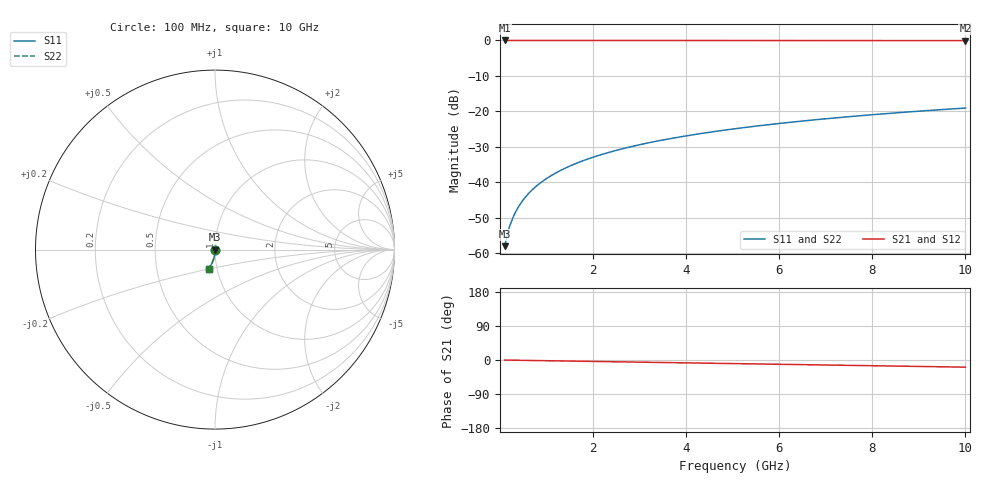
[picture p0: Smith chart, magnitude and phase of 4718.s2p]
# Hz S RI R 50.00
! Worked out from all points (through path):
!   100 points, 100 MHz to 10 GHz, reference 50 ohm
!   highest |S21| = 0.00 dB at 100 MHz (marker M1); lowest = -0.1 dB at 10 GHz (marker M2)
!   group delay of S21, straight-line fit = 5.25 ps
!   lowest |S11| = -58.0 dB at 100 MHz (marker M3), VSWR 1.00, Z = 50.1 - j0.113 ohm
!   |S11| at or under -10 dB: start of sweep to end of sweep
!   |S22| runs from -58.0 to -19.1 dB; largest |S21 - S12| = 0
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1e8  0.00055 -0.00113  0.9994 -0.00328  0.9994 -0.00328  0.00055 -0.00113
2e8  0.00054 -0.00226  0.9994 -0.00656  0.9994 -0.00656  0.00054 -0.00226
3e8  0.000523 -0.00338  0.9994 -0.00984  0.9994 -0.00984  0.000523 -0.00338
4e8  0.000497 -0.00451  0.9993 -0.0131  0.9993 -0.0131  0.000497 -0.00451
5e8  0.000463 -0.00564  0.9993 -0.0164  0.9993 -0.0164  0.000463 -0.00564
6e8  0.000422 -0.00677  0.9992 -0.0197  0.9992 -0.0197  0.000422 -0.00677
7e8  0.000374 -0.00789  0.9991 -0.023  0.9991 -0.023  0.000374 -0.00789
8e8  0.000318 -0.00902  0.999 -0.0262  0.999 -0.0262  0.000318 -0.00902
9e8  0.000254 -0.0101  0.9989 -0.0295  0.9989 -0.0295  0.000254 -0.0101
1.1e9  0.000104 -0.0124  0.9987 -0.0361  0.9987 -0.0361  0.000104 -0.0124
1.4e9  -0.000176 -0.0158  0.9982 -0.0459  0.9982 -0.0459  -0.000176 -0.0158
1.8e9  -0.000654 -0.0203  0.9974 -0.059  0.9974 -0.059  -0.000654 -0.0203
2.1e9  -0.00109 -0.0236  0.9967 -0.0688  0.9967 -0.0688  -0.00109 -0.0236
2.5e9  -0.00178 -0.0281  0.9956 -0.0819  0.9956 -0.0819  -0.00178 -0.0281
2.9e9  -0.00258 -0.0326  0.9943 -0.095  0.9943 -0.095  -0.00258 -0.0326
3.4e9  -0.00375 -0.0381  0.9924 -0.1113  0.9924 -0.1113  -0.00375 -0.0381
4.2e9  -0.006 -0.0469  0.9887 -0.1374  0.9887 -0.1374  -0.006 -0.0469
5.1e9  -0.00909 -0.0567  0.9836 -0.1666  0.9836 -0.1666  -0.00909 -0.0567
5.9e9  -0.0123 -0.0652  0.9783 -0.1924  0.9783 -0.1924  -0.0123 -0.0652
6.7e9  -0.016 -0.0735  0.9723 -0.218  0.9723 -0.218  -0.016 -0.0735
8.4e9  -0.0252 -0.0905  0.9569 -0.2718  0.9569 -0.2718  -0.0252 -0.0905
1e10  -0.0356 -0.1055  0.9395 -0.3214  0.9395 -0.3214  -0.0356 -0.1055
